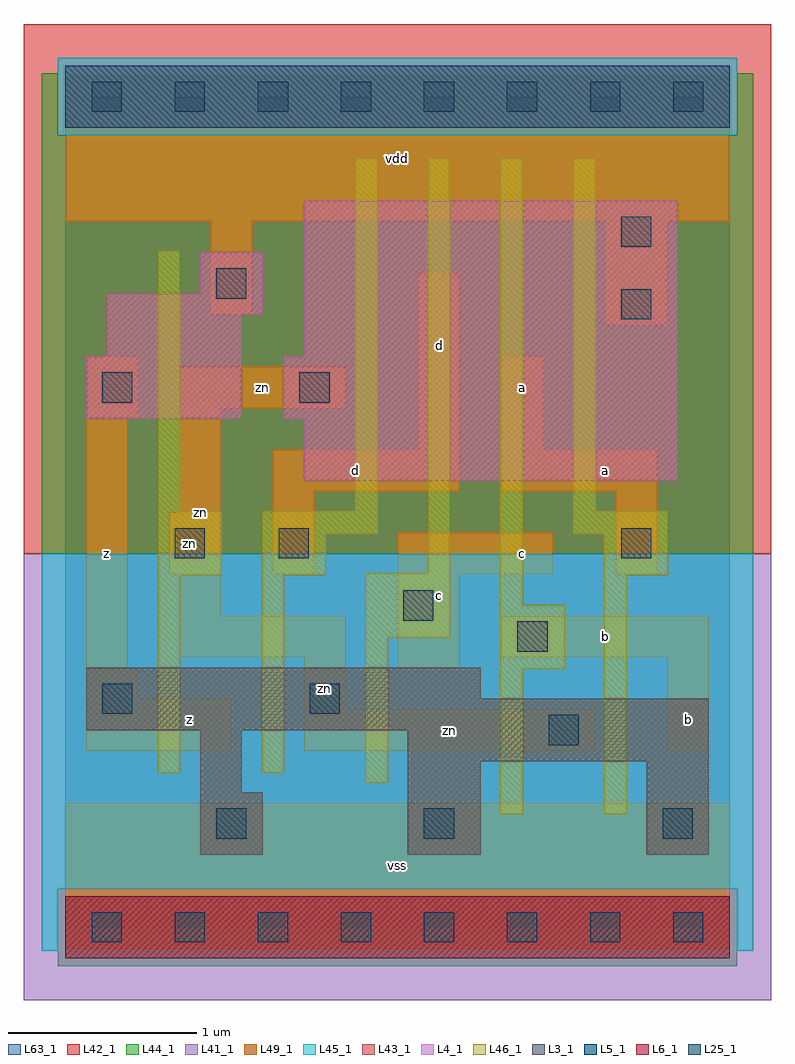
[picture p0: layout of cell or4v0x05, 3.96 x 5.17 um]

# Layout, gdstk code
import gdstk
lib = gdstk.Library(unit=1e-6, precision=1e-09)
def R(c, l, rs):  # rectangles x0, y0, x1, y1
    for r in rs: c.add(gdstk.rectangle(r[:2], r[2:], *l))
def A(c, l, x, y, w, h, nx, ny, dx, dy):  # array of equal rectangles
    R(c, l, [(x+i*dx, y+j*dy, x+i*dx+w, y+j*dy+h) for i in range(nx) for j in range(ny)])
L3_1 = (3, 1)
L4_1 = (4, 1)
L5_1 = (5, 1)
L6_1 = (6, 1)
L25_1 = (25, 1)
L41_1 = (41, 1)
L42_1 = (42, 1)
L43_1 = (43, 1)
L44_1 = (44, 1)
L45_1 = (45, 1)
L46_1 = (46, 1)
L49_1 = (49, 1)
L63_1 = (63, 1)

or4v0x05 = lib.new_cell('or4v0x05')
R(or4v0x05, L3_1, [(0.715,0.385,1.045,0.715), (1.815,0.385,2.2,0.88), (3.08,0.385,3.41,0.88), (0.715,0.715,0.935,1.045), (1.815,0.88,3.41,1.045), (0.11,1.045,3.41,1.21), (0.11,1.21,2.2,1.375)])
R(or4v0x05, L4_1, [(1.265,2.365,3.245,2.695), (0.11,2.695,0.935,3.025), (1.155,2.695,3.245,3.025), (0.22,3.025,0.935,3.245), (1.265,3.025,3.245,3.85), (0.22,3.245,1.045,3.355), (0.715,3.355,1.045,3.575)])
R(or4v0x05, L5_1, [(0,4.235,3.52,4.565)])
R(or4v0x05, L6_1, [(0,-0.165,3.52,0.165)])
A(or4v0x05, L25_1, 0.14, -0.08, 0.16, 0.16, 8, 2, 0.44, 4.4)
R(or4v0x05, L25_1, [(0.8,0.47,0.96,0.63), (1.9,0.47,2.06,0.63), (3.165,0.47,3.325,0.63), (2.56,0.965,2.72,1.125), (0.195,1.13,0.355,1.29), (1.295,1.13,1.455,1.29), (2.395,1.46,2.555,1.62), (1.79,1.625,1.95,1.785), (0.58,1.955,0.74,2.115), (1.13,1.955,1.29,2.115), (2.945,1.955,3.105,2.115), (0.195,2.78,0.355,2.94), (1.24,2.78,1.4,2.94), (2.945,3.22,3.105,3.38), (0.8,3.33,0.96,3.49), (2.945,3.605,3.105,3.765)])
R(or4v0x05, L41_1, [(-0.22,-0.385,3.74,1.98)])
R(or4v0x05, L42_1, [(-0.22,1.98,3.74,4.785)])
R(or4v0x05, L43_1, [(0,-0.165,3.52,0.165), (0.715,0.385,1.045,0.715), (1.815,0.385,2.2,0.88), (3.08,0.385,3.41,0.88), (0.715,0.715,0.935,1.045), (1.815,0.88,3.41,1.045), (0.11,1.045,3.41,1.21), (0.11,1.21,2.2,1.375), (1.265,2.365,3.245,2.695), (0.11,2.695,0.935,3.025), (1.155,2.695,3.245,3.025), (0.22,3.025,0.935,3.245), (1.265,3.025,3.245,3.85), (0.22,3.245,1.045,3.355), (0.715,3.355,1.045,3.575), (0,4.235,3.52,4.565)])
R(or4v0x05, L44_1, [(-0.04,-0.205,3.56,0.205), (-0.125,1.98,3.645,4.195), (-0.125,4.195,-0.04,4.525), (3.56,4.195,3.645,4.525)])
R(or4v0x05, L45_1, [(-0.125,-0.125,-0.04,0.205), (3.56,-0.125,3.645,0.205), (-0.125,0.205,3.645,1.98), (-0.04,4.195,3.56,4.605)])
R(or4v0x05, L46_1, [(2.305,0.6,2.425,1.37), (2.855,0.6,2.975,1.865), (1.59,0.765,1.71,1.535), (0.49,0.82,0.61,1.865), (1.04,0.82,1.16,1.865), (2.305,1.37,2.645,1.71), (1.59,1.535,2.04,1.875), (2.305,1.71,2.425,4.075), (0.49,1.865,0.83,2.205), (1.04,1.865,1.38,2.085), (2.855,1.865,3.195,2.085), (1.92,1.875,2.04,4.075), (1.04,2.085,1.655,2.205), (2.69,2.085,3.195,2.205), (0.49,2.205,0.61,3.58), (1.535,2.205,1.655,4.075), (2.69,2.205,2.81,4.075)])
R(or4v0x05, L49_1, [(0,-0.11,3.52,0.66), (0.11,0.935,0.88,1.21), (1.265,0.935,2.805,1.155), (3.19,0.935,3.41,1.43), (1.265,1.155,1.485,1.43), (0.11,1.21,0.385,1.375), (0.11,1.375,0.33,2.695), (1.76,1.375,2.09,1.87), (0.605,1.43,1.485,1.65), (2.31,1.43,3.41,1.65), (0.605,1.65,0.825,1.87), (0.55,1.87,0.825,2.2), (1.1,1.87,1.32,2.31), (1.76,1.87,2.585,2.09), (2.915,1.87,3.135,2.31), (0.605,2.2,0.825,2.75), (1.1,2.31,2.09,2.53), (2.31,2.31,3.135,2.53), (1.87,2.53,2.09,3.465), (2.31,2.53,2.53,3.025), (0.11,2.695,0.385,3.025), (0.605,2.75,1.485,2.97), (2.86,3.19,3.19,3.74), (0.77,3.245,0.99,3.74), (0,3.74,3.52,4.51)])
R(or4v0x05, L63_1, [(0,0,3.52,4.4)])
or4v0x05.add(gdstk.Label('zn', (0.66,2.035), layer=49, texttype=1))
or4v0x05.add(gdstk.Label('z', (0.22,1.98), layer=49, texttype=1))
or4v0x05.add(gdstk.Label('z', (0.66,1.1), layer=49, texttype=1))
or4v0x05.add(gdstk.Label('zn', (0.715,2.2), layer=49, texttype=1))
or4v0x05.add(gdstk.Label('vss', (1.76,0.33), layer=49, texttype=1))
or4v0x05.add(gdstk.Label('zn', (1.375,1.265), layer=49, texttype=1))
or4v0x05.add(gdstk.Label('c', (1.98,1.76), layer=49, texttype=1))
or4v0x05.add(gdstk.Label('d', (1.54,2.42), layer=49, texttype=1))
or4v0x05.add(gdstk.Label('zn', (1.045,2.86), layer=49, texttype=1))
or4v0x05.add(gdstk.Label('d', (1.98,3.08), layer=49, texttype=1))
or4v0x05.add(gdstk.Label('vdd', (1.76,4.07), layer=49, texttype=1))
or4v0x05.add(gdstk.Label('zn', (2.035,1.045), layer=49, texttype=1))
or4v0x05.add(gdstk.Label('c', (2.42,1.98), layer=49, texttype=1))
or4v0x05.add(gdstk.Label('a', (2.42,2.86), layer=49, texttype=1))
or4v0x05.add(gdstk.Label('b', (2.86,1.54), layer=49, texttype=1))
or4v0x05.add(gdstk.Label('b', (3.3,1.1), layer=49, texttype=1))
or4v0x05.add(gdstk.Label('a', (2.86,2.42), layer=49, texttype=1))

lib.write_gds('or4v0x05.gds')
